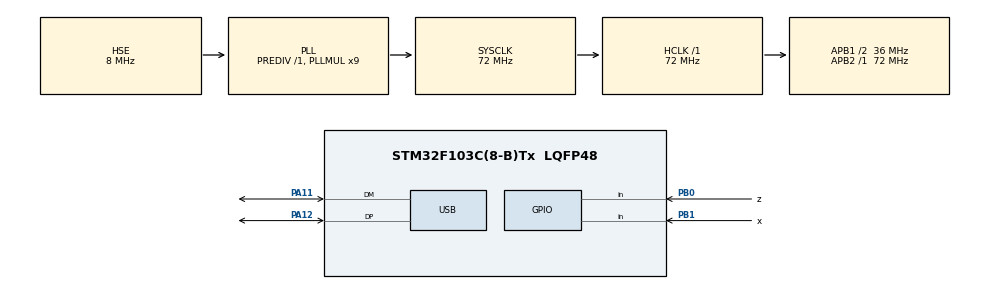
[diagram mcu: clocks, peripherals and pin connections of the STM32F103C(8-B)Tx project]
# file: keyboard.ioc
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Mcu.Family=STM32F1
Mcu.Name=STM32F103C(8-B)Tx
Mcu.Package=LQFP48
NVIC.PriorityGroup=NVIC_PRIORITYGROUP_4
NVIC.USB_LP_CAN1_RX0_IRQn=true\:0\:0\:false\:false\:true\:false\:true\:true
PA11.Mode=Device
PA11.Signal=USB_DM
PA12.Mode=Device
PA12.Signal=USB_DP
PA13.Mode=Serial_Wire
PA13.Signal=SYS_JTMS-SWDIO
PA14.Mode=Serial_Wire
PA14.Signal=SYS_JTCK-SWCLK
PB0.GPIO_Label=z
PB0.GPIO_PuPd=GPIO_PULLDOWN
PB0.Signal=GPIO_Input
PB1.GPIO_Label=x
PB1.GPIO_PuPd=GPIO_PULLDOWN
PB1.Signal=GPIO_Input
PD0-OSC_IN.Mode=HSE-External-Oscillator
PD0-OSC_IN.Signal=RCC_OSC_IN
PD1-OSC_OUT.Mode=HSE-External-Oscillator
PD1-OSC_OUT.Signal=RCC_OSC_OUT
ProjectManager.HeapSize=0x200
ProjectManager.StackSize=0x400
ProjectManager.TargetToolchain=STM32CubeIDE
RCC.AHBFreq_Value=72000000
RCC.APB1CLKDivider=RCC_HCLK_DIV2
RCC.APB1Freq_Value=36000000
RCC.APB1TimFreq_Value=72000000
RCC.APB2Freq_Value=72000000
RCC.APB2TimFreq_Value=72000000
RCC.HCLKFreq_Value=72000000
RCC.PLLMUL=RCC_PLL_MUL9
RCC.SYSCLKFreq_VALUE=72000000
RCC.SYSCLKSource=RCC_SYSCLKSOURCE_PLLCLK
RCC.USBFreq_Value=48000000
RCC.USBPrescaler=RCC_USBCLKSOURCE_PLL_DIV1_5
USB_DEVICE.CLASS_NAME_FS=HID
USB_DEVICE.PRODUCT_STRING_HID_FS=Richard's Keyboard
USB_DEVICE.VirtualMode=Hid
USB_DEVICE.VirtualModeFS=Hid_FS
VP_USB_DEVICE_VS_USB_DEVICE_HID_FS.Mode=HID_FS
board=custom

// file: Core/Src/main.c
/* USER CODE BEGIN Header */
/**
  ******************************************************************************
  * @file           : main.c
  * @brief          : Main program body
  ******************************************************************************
  * @attention
  *
  * Copyright (c) 2025 STMicroelectronics.
  * All rights reserved.
  *
  * This software is licensed under terms that can be found in the LICENSE file
  * in the root directory of this software component.
  * If no LICENSE file comes with this software, it is provided AS-IS.
  *
  ******************************************************************************
  */
/* USER CODE END Header */
#include "main.h"
#include "usb_device.h"

/* USER CODE BEGIN Includes */
#include "usbd_hid.h"
/* USER CODE END Includes */

/* USER CODE BEGIN PV */
extern USBD_HandleTypeDef hUsbDeviceFS;

typedef struct
{
    uint8_t MODIFIER;
    uint8_t RESERVED;
    uint8_t KEYCODE1;
    uint8_t KEYCODE2;
    uint8_t KEYCODE3;
    uint8_t KEYCODE4;
    uint8_t KEYCODE5;
    uint8_t KEYCODE6;
}keyboardReportDes;

keyboardReportDes HIDkeyboard0 = {0, 0, 0, 0, 0, 0, 0, 0};
keyboardReportDes HIDkeyboard1 = {0, 0, 0, 0, 0, 0, 0, 0};
keyboardReportDes HIDkeyboardRelease = {0, 0, 0, 0, 0, 0, 0, 0};
uint8_t prevState0 = 0;
uint8_t prevState1 = 0;
uint8_t isKey0Pressed = 0;
uint8_t isKey1Pressed = 0;
/* USER CODE END PV */

void SystemClock_Config(void);
static void MX_GPIO_Init(void);

int main(void)
{

  /* MCU Configuration--------------------------------------------------------*/

  /* Reset of all peripherals, Initializes the Flash interface and the Systick. */
  HAL_Init();

  /* Configure the system clock */
  SystemClock_Config();

  /* Initialize all configured peripherals */
  MX_GPIO_Init();
  MX_USB_DEVICE_Init();
  /* USER CODE BEGIN 2 */
  HIDkeyboard0.KEYCODE1 = 0x1d; // 'z' pin B0
  HIDkeyboard1.KEYCODE1 = 0x1b; // 'x' pin B1
  /* USER CODE END 2 */

  /* Infinite loop */
  while (1)
  {

    /* USER CODE BEGIN 3 */
	  uint8_t currentState0 = HAL_GPIO_ReadPin(GPIOB, GPIO_PIN_0);
	  uint8_t currentState1 = HAL_GPIO_ReadPin(GPIOB, GPIO_PIN_1);

	  //for zzzzzzzzzzzzzzzzzzzzzzzzzzzzzzzzz
	  if(currentState0 == GPIO_PIN_SET){
		  if(prevState0 == GPIO_PIN_RESET){
			  USBD_HID_SendReport(&hUsbDeviceFS, &HIDkeyboard0, sizeof(HIDkeyboard0));
			  isKey0Pressed = 1;
		  }
	  } else {
		  if (isKey0Pressed) {
			  USBD_HID_SendReport(&hUsbDeviceFS, &HIDkeyboardRelease, sizeof(HIDkeyboardRelease));
			  isKey0Pressed = 0;
		  }
	  }

	  //for xxxxxxxxxxxxxxxxxxxxxxxxxxxxxxxxxxxxxxx
	  prevState0 = currentState0;
	  if(currentState1 == GPIO_PIN_SET){
		  if(prevState1 == GPIO_PIN_RESET){
			  USBD_HID_SendReport(&hUsbDeviceFS, &HIDkeyboard1, sizeof(HIDkeyboard1));
			  isKey1Pressed = 1;
		  }
	  } else {
		  if (isKey1Pressed) {
			  USBD_HID_SendReport(&hUsbDeviceFS, &HIDkeyboardRelease, sizeof(HIDkeyboardRelease));
			  isKey1Pressed = 0;
		  }
	  }
	  prevState1 = currentState1;

  }
  /* USER CODE END 3 */
}

void SystemClock_Config(void)
{
  RCC_OscInitTypeDef RCC_OscInitStruct = {0};
  RCC_ClkInitTypeDef RCC_ClkInitStruct = {0};
  RCC_PeriphCLKInitTypeDef PeriphClkInit = {0};

  /** Initializes the RCC Oscillators according to the specified parameters
  * in the RCC_OscInitTypeDef structure.
  */
  RCC_OscInitStruct.OscillatorType = RCC_OSCILLATORTYPE_HSE;
  RCC_OscInitStruct.HSEState = RCC_HSE_ON;
  RCC_OscInitStruct.HSEPredivValue = RCC_HSE_PREDIV_DIV1;
  RCC_OscInitStruct.HSIState = RCC_HSI_ON;
  RCC_OscInitStruct.PLL.PLLState = RCC_PLL_ON;
  RCC_OscInitStruct.PLL.PLLSource = RCC_PLLSOURCE_HSE;
  RCC_OscInitStruct.PLL.PLLMUL = RCC_PLL_MUL9;
  if (HAL_RCC_OscConfig(&RCC_OscInitStruct) != HAL_OK)
  {
    Error_Handler();
  }

  /** Initializes the CPU, AHB and APB buses clocks
  */
  RCC_ClkInitStruct.ClockType = RCC_CLOCKTYPE_HCLK|RCC_CLOCKTYPE_SYSCLK
                              |RCC_CLOCKTYPE_PCLK1|RCC_CLOCKTYPE_PCLK2;
  RCC_ClkInitStruct.SYSCLKSource = RCC_SYSCLKSOURCE_PLLCLK;
  RCC_ClkInitStruct.AHBCLKDivider = RCC_SYSCLK_DIV1;
  RCC_ClkInitStruct.APB1CLKDivider = RCC_HCLK_DIV2;
  RCC_ClkInitStruct.APB2CLKDivider = RCC_HCLK_DIV1;

  if (HAL_RCC_ClockConfig(&RCC_ClkInitStruct, FLASH_LATENCY_2) != HAL_OK)
  {
    Error_Handler();
  }
  PeriphClkInit.PeriphClockSelection = RCC_PERIPHCLK_USB;
  PeriphClkInit.UsbClockSelection = RCC_USBCLKSOURCE_PLL_DIV1_5;
  if (HAL_RCCEx_PeriphCLKConfig(&PeriphClkInit) != HAL_OK)
  {
    Error_Handler();
  }
}

static void MX_GPIO_Init(void)
{
  GPIO_InitTypeDef GPIO_InitStruct = {0};

  /* GPIO Ports Clock Enable */
  __HAL_RCC_GPIOD_CLK_ENABLE();
  __HAL_RCC_GPIOB_CLK_ENABLE();
  __HAL_RCC_GPIOA_CLK_ENABLE();

  /*Configure GPIO pins : z_Pin x_Pin */
  GPIO_InitStruct.Pin = z_Pin|x_Pin;
  GPIO_InitStruct.Mode = GPIO_MODE_INPUT;
  GPIO_InitStruct.Pull = GPIO_PULLDOWN;
  HAL_GPIO_Init(GPIOB, &GPIO_InitStruct);

}

void Error_Handler(void)
{
  __disable_irq();
  while (1)
  {
  }
}
